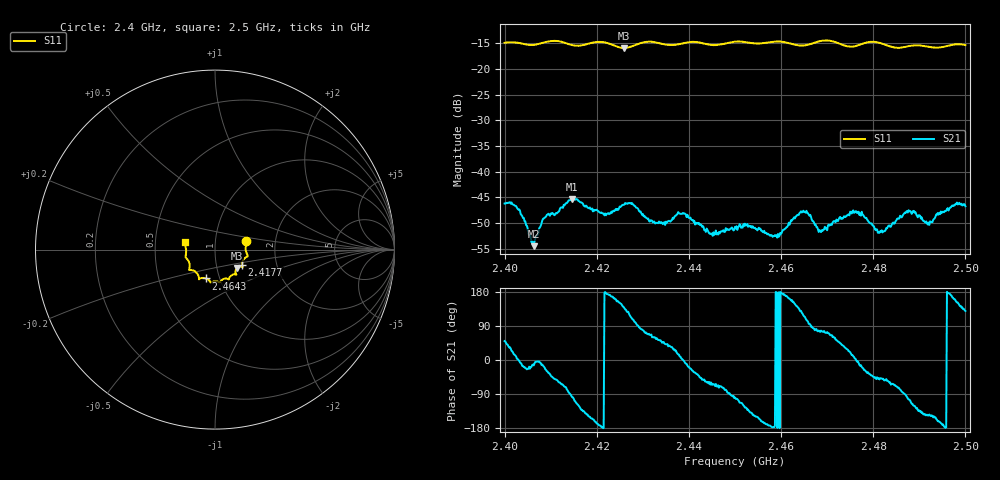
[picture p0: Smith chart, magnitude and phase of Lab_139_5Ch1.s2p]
# Hz S RI R 50
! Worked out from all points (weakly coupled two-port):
!   601 points, 2.4 GHz to 2.5 GHz, reference 50 ohm
!   highest |S21| = -45.30 dB at 2.4147 GHz (marker M1); lowest = -54.5 dB at 2.4063 GHz (marker M2)
!   lowest |S11| = -16.0 dB at 2.4258 GHz (marker M3), VSWR 1.38, Z = 62.4 - j13.1 ohm
!   |S11| at or under -10 dB: start of sweep to end of sweep
!   S12 and S22 are empty: the file has one direction only
!   S11 on the Smith chart (normalised r, x): 2.4 GHz: 1.41, +0.14; 2.4177 GHz: 1.33, -0.23; 2.4643 GHz: 0.86, -0.29; 2.5 GHz: 0.71, +0.06
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2.4e9  0.1727 0.048  0.00316 0.00375  0 0  0 0
2.402833e9  0.1758 0.0363  0.00435 0.000202  0 0  0 0
2.406333e9  0.1711 -0.00119  0.00183 -0.000463  0 0  0 0
2.408833e9  0.1799 -0.0281  0.00329 -0.00149  0 0  0 0
2.414667e9  0.1621 -0.0514  -0.00077 -0.00538  0 0  0 0
2.416667e9  0.1523 -0.0731  -0.00335 -0.00376  0 0  0 0
2.417667e9  0.1512 -0.0846  -0.00364 -0.00294  0 0  0 0
2.425833e9  0.1222 -0.1024  -0.00365 0.00307  0 0  0 0
2.433333e9  0.1139 -0.1374  0.00191 0.00251  0 0  0 0
2.438167e9  0.081 -0.155  0.00385 0.00057  0 0  0 0
2.444667e9  0.0591 -0.1608  0.00107 -0.00227  0 0  0 0
2.45e9  0.028 -0.1817  -0.000455 -0.00287  0 0  0 0
2.459167e9  -0.0239 -0.1833  -0.00228 -4.63e-05  0 0  0 0
2.464333e9  -0.0493 -0.161  -0.00263 0.00318  0 0  0 0
2.466667e9  -0.0761 -0.1586  0.00011 0.00342  0 0  0 0
2.468667e9  -0.0886 -0.1645  0.000556 0.00253  0 0  0 0
2.476e9  -0.1157 -0.1183  0.00401 0.000286  0 0  0 0
2.481e9  -0.1438 -0.1093  0.00168 -0.00192  0 0  0 0
2.483333e9  -0.1404 -0.0903  0.00164 -0.00251  0 0  0 0
2.4875e9  -0.1575 -0.0511  -0.000797 -0.00394  0 0  0 0
2.492167e9  -0.1617 -0.0241  -0.00245 -0.00179  0 0  0 0
2.5e9  -0.1646 0.0437  -0.00292 0.00356  0 0  0 0
